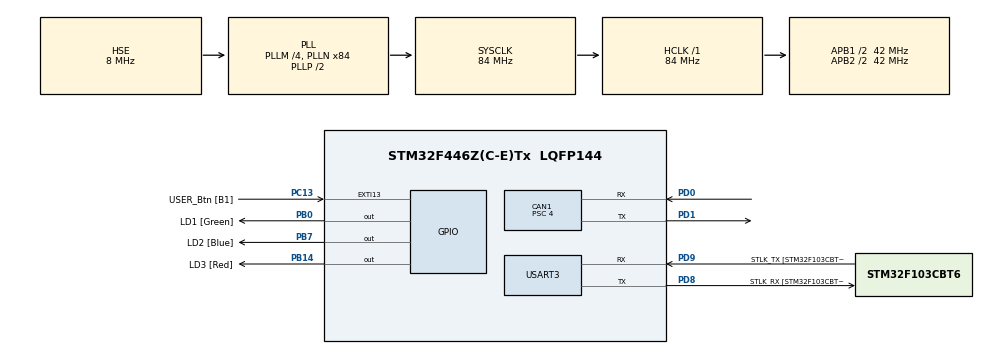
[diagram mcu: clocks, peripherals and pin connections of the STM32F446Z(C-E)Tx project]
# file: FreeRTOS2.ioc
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CAN1.BS1=CAN_BS1_13TQ
CAN1.BS2=CAN_BS2_2TQ
CAN1.CalculateBaudRate=656250
CAN1.CalculateTimeBit=1523
CAN1.CalculateTimeQuantum=95.23809523809524
CAN1.NART=ENABLE
CAN1.Prescaler=4
FREERTOS.INCLUDE_pcTaskGetTaskName=1
FREERTOS.Tasks01=app0,48,128,StartApp0,Default,NULL,Dynamic,NULL,NULL;app1,8,128,StartApp1,Default,NULL,Dynamic,NULL,NULL;app2,9,128,StartApp2,Default,NULL,Dynamic,NULL,NULL;app3,8,128,StartApp3,Default,NULL,Dynamic,NULL,NULL
FREERTOS.configUSE_NEWLIB_REENTRANT=1
Mcu.Family=STM32F4
Mcu.Name=STM32F446Z(C-E)Tx
Mcu.Package=LQFP144
NVIC.CAN1_RX0_IRQn=true\:5\:0\:false\:false\:true\:true\:true\:true\:true
NVIC.EXTI15_10_IRQn=true\:5\:0\:false\:false\:true\:true\:true\:true\:true
NVIC.PriorityGroup=NVIC_PRIORITYGROUP_4
NVIC.TIM6_DAC_IRQn=true\:15\:0\:false\:false\:true\:false\:false\:true\:true
NVIC.TimeBase=TIM6_DAC_IRQn
NVIC.TimeBaseIP=TIM6
PB0.GPIO_Label=LD1 [Green]
PB0.Signal=GPIO_Output
PB14.GPIO_Label=LD3 [Red]
PB14.Signal=GPIO_Output
PB7.GPIO_Label=LD2 [Blue]
PB7.Signal=GPIO_Output
PC13.GPIO_Label=USER_Btn [B1]
PC13.Signal=GPXTI13
PC14-OSC32_IN.Mode=LSE-External-Oscillator
PC14-OSC32_IN.Signal=RCC_OSC32_IN
PC15-OSC32_OUT.Mode=LSE-External-Oscillator
PC15-OSC32_OUT.Signal=RCC_OSC32_OUT
PD0.Mode=CAN_Activate
PD0.Signal=CAN1_RX
PD1.Mode=CAN_Activate
PD1.Signal=CAN1_TX
PD8.GPIO_Label=STLK_RX [STM32F103CBT6_PA3]
PD8.Mode=Asynchronous
PD8.Signal=USART3_TX
PD9.GPIO_Label=STLK_TX [STM32F103CBT6_PA2]
PD9.Mode=Asynchronous
PD9.Signal=USART3_RX
PH0-OSC_IN.GPIO_Label=MCO [STM32F103CBT6_PA8]
PH0-OSC_IN.Mode=HSE-External-Clock-Source
PH0-OSC_IN.Signal=RCC_OSC_IN
PH1-OSC_OUT.Mode=HSE-External-Clock-Source
PH1-OSC_OUT.Signal=RCC_OSC_OUT
ProjectManager.HeapSize=0x200
ProjectManager.StackSize=0x400
ProjectManager.TargetToolchain=STM32CubeIDE
RCC.48MHZClocksFreq_Value=24000000
RCC.AHBFreq_Value=84000000
RCC.APB1CLKDivider=RCC_HCLK_DIV2
RCC.APB1Freq_Value=42000000
RCC.APB1TimFreq_Value=84000000
RCC.APB2CLKDivider=RCC_HCLK_DIV2
RCC.APB2Freq_Value=42000000
RCC.APB2TimFreq_Value=84000000
RCC.CortexFreq_Value=84000000
RCC.HCLKFreq_Value=84000000
RCC.HSE_VALUE=8000000
RCC.HSI_VALUE=16000000
RCC.PLLM=4
RCC.PLLMUL=RCC_PLL_MUL9
RCC.PLLN=84
RCC.PLLQ=7
RCC.PLLSourceVirtual=RCC_PLLSOURCE_HSE
RCC.PRESCALERUSB=RCC_USBCLKSOURCE_PLL_DIV1_5
RCC.SYSCLKFreq_VALUE=84000000
RCC.SYSCLKSource=RCC_SYSCLKSOURCE_PLLCLK
RCC.SYSCLKSourceVirtual=RCC_SYSCLKSOURCE_PLLCLK
RCC.USBFreq_Value=24000000
RCC.VCOOutputFreq_Value=168000000
USART3.VirtualMode=VM_ASYNC
VP_FREERTOS_VS_CMSIS_V2.Mode=CMSIS_V2
VP_SYS_VS_tim6.Mode=TIM6
board=NUCLEO-F446ZE

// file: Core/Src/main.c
/* USER CODE BEGIN Header */
/**
  ******************************************************************************
  * @file           : main.c
  * @brief          : Main program body
  ******************************************************************************
  * @attention
  *
  * Copyright (c) 2024 STMicroelectronics.
  * All rights reserved.
  *
  * This software is licensed under terms that can be found in the LICENSE file
  * in the root directory of this software component.
  * If no LICENSE file comes with this software, it is provided AS-IS.
  *
  ******************************************************************************
  */
/* USER CODE END Header */
#include "main.h"
#include "cmsis_os.h"

/* USER CODE BEGIN Includes */
#include <stdio.h>
/* USER CODE END Includes */

/* USER CODE BEGIN PD */

#define MAJOR 0
#define MINOR 0

/* Before transmitting, make sure that there is an 'update' available in the sector defined below.
 * This update will then be sent from one F446 board to another through the CAN bus.
 * One board simulates the telemetry module (= responsible from communication with the ground station) on a CubeSat,
 * the other board simulates the on-board computer (OBC) of the CubeSat. */

//#define FLASH_USER_START_ADDR_RX   ADDR_FLASH_SECTOR_5_START		/* Start @ of user Flash area */
//#define FLASH_USER_END_ADDR_RX     ADDR_FLASH_SECTOR_5_END 			/* End @ of user Flash area */

/* USER CODE END PD */

CAN_HandleTypeDef hcan1;

UART_HandleTypeDef huart3;

/* Definitions for app0 */
osThreadId_t app0Handle;
const osThreadAttr_t app0_attributes = {
  .name = "app0",
  .stack_size = 128 * 4,
  .priority = (osPriority_t) osPriorityRealtime,
};
/* Definitions for app1 */
osThreadId_t app1Handle;
const osThreadAttr_t app1_attributes = {
  .name = "app1",
  .stack_size = 128 * 4,
  .priority = (osPriority_t) osPriorityLow,
};
/* Definitions for app2 */
osThreadId_t app2Handle;
const osThreadAttr_t app2_attributes = {
  .name = "app2",
  .stack_size = 128 * 4,
  .priority = (osPriority_t) osPriorityLow1,
};
/* Definitions for app3 */
osThreadId_t app3Handle;
const osThreadAttr_t app3_attributes = {
  .name = "app3",
  .stack_size = 128 * 4,
  .priority = (osPriority_t) osPriorityLow,
};
/* USER CODE BEGIN PV */

const uint8_t			APP_Version[2]={MAJOR, MINOR};

// CAN variables
CAN_RxHeaderTypeDef   	RxHeader;
CAN_TxHeaderTypeDef   	TxHeader;
uint8_t               	TxData[8];
uint8_t               	RxData[8];
uint32_t              	TxMailbox;
QueueHandle_t canRxQueue;

// Board status variables
enum board_status 	  	{NO_UPDATE_AVAILABLE, SENDING_UPDATE, RECEIVING_UPDATE, UPDATE_FINISHED};
enum board_status 	  	board_status = NO_UPDATE_AVAILABLE;

// Flash Operation variables
uint32_t FirstSector = 0, NbOfSectors = 0;
uint32_t Address = 0, SECTORError = 0;
__IO uint32_t data32 = 0 , MemoryProgramStatus = 0;
uint8_t TxBuffer;

/* USER CODE END PV */

void SystemClock_Config(void);
static void MX_GPIO_Init(void);
static void MX_USART3_UART_Init(void);
static void MX_CAN1_Init(void);
void StartApp0(void *argument);
void StartApp1(void *argument);
void StartApp2(void *argument);
void StartApp3(void *argument);

/* USER CODE BEGIN PFP */
void SystemReset(void);
void StopAllThreads(void);
void RebootToApplication(void);

/* Function prototypes for Flash Operations */

/* USER CODE END PFP */

int main(void)
{

  /* MCU Configuration--------------------------------------------------------*/

  /* Reset of all peripherals, Initializes the Flash interface and the Systick. */
  HAL_Init();

  /* Configure the system clock */
  SystemClock_Config();

  /* Initialize all configured peripherals */
  MX_GPIO_Init();
  MX_USART3_UART_Init();
  MX_CAN1_Init();
  /* USER CODE BEGIN 2 */

  /* Start the CAN and enable interrupts*/
 HAL_CAN_Start(&hcan1);

  /* USER CODE END 2 */

  /* Init scheduler */
  osKernelInitialize();

  /* Create the thread(s) */
  /* creation of app0 */
  app0Handle = osThreadNew(StartApp0, NULL, &app0_attributes);

  /* creation of app1 */
  app1Handle = osThreadNew(StartApp1, NULL, &app1_attributes);

  /* creation of app2 */
  app2Handle = osThreadNew(StartApp2, NULL, &app2_attributes);

  /* creation of app3 */
  app3Handle = osThreadNew(StartApp3, NULL, &app3_attributes);

  /* Start scheduler */
  osKernelStart();

  /* We should never get here as control is now taken by the scheduler */
  /* Infinite loop */
  while (1)
  {

    /* USER CODE BEGIN 3 */

	  printf("in the while \r\n");

  }
  /* USER CODE END 3 */
}

void SystemClock_Config(void)
{
  RCC_OscInitTypeDef RCC_OscInitStruct = {0};
  RCC_ClkInitTypeDef RCC_ClkInitStruct = {0};

  /** Configure the main internal regulator output voltage
  */
  __HAL_RCC_PWR_CLK_ENABLE();
  __HAL_PWR_VOLTAGESCALING_CONFIG(PWR_REGULATOR_VOLTAGE_SCALE3);

  /** Initializes the RCC Oscillators according to the specified parameters
  * in the RCC_OscInitTypeDef structure.
  */
  RCC_OscInitStruct.OscillatorType = RCC_OSCILLATORTYPE_HSE;
  RCC_OscInitStruct.HSEState = RCC_HSE_BYPASS;
  RCC_OscInitStruct.PLL.PLLState = RCC_PLL_ON;
  RCC_OscInitStruct.PLL.PLLSource = RCC_PLLSOURCE_HSE;
  RCC_OscInitStruct.PLL.PLLM = 4;
  RCC_OscInitStruct.PLL.PLLN = 84;
  RCC_OscInitStruct.PLL.PLLP = RCC_PLLP_DIV2;
  RCC_OscInitStruct.PLL.PLLQ = 7;
  RCC_OscInitStruct.PLL.PLLR = 2;
  if (HAL_RCC_OscConfig(&RCC_OscInitStruct) != HAL_OK)
  {
    Error_Handler();
  }

  /** Initializes the CPU, AHB and APB buses clocks
  */
  RCC_ClkInitStruct.ClockType = RCC_CLOCKTYPE_HCLK|RCC_CLOCKTYPE_SYSCLK
                              |RCC_CLOCKTYPE_PCLK1|RCC_CLOCKTYPE_PCLK2;
  RCC_ClkInitStruct.SYSCLKSource = RCC_SYSCLKSOURCE_PLLCLK;
  RCC_ClkInitStruct.AHBCLKDivider = RCC_SYSCLK_DIV1;
  RCC_ClkInitStruct.APB1CLKDivider = RCC_HCLK_DIV2;
  RCC_ClkInitStruct.APB2CLKDivider = RCC_HCLK_DIV2;

  if (HAL_RCC_ClockConfig(&RCC_ClkInitStruct, FLASH_LATENCY_2) != HAL_OK)
  {
    Error_Handler();
  }
}

static void MX_CAN1_Init(void)
{

  /* USER CODE BEGIN CAN1_Init 0 */
  CAN_FilterTypeDef  sFilterConfig0;
  /* USER CODE END CAN1_Init 0 */

  hcan1.Instance = CAN1;
  hcan1.Init.Prescaler = 4;
  hcan1.Init.Mode = CAN_MODE_NORMAL;
  hcan1.Init.SyncJumpWidth = CAN_SJW_1TQ;
  hcan1.Init.TimeSeg1 = CAN_BS1_13TQ;
  hcan1.Init.TimeSeg2 = CAN_BS2_2TQ;
  hcan1.Init.TimeTriggeredMode = DISABLE;
  hcan1.Init.AutoBusOff = DISABLE;
  hcan1.Init.AutoWakeUp = DISABLE;
  hcan1.Init.AutoRetransmission = ENABLE;
  hcan1.Init.ReceiveFifoLocked = DISABLE;
  hcan1.Init.TransmitFifoPriority = DISABLE;
  if (HAL_CAN_Init(&hcan1) != HAL_OK)
  {
    Error_Handler();
  }
  /* USER CODE BEGIN CAN1_Init 2 */

  sFilterConfig0.FilterBank = 0;
  sFilterConfig0.FilterMode = CAN_FILTERMODE_IDMASK;
  sFilterConfig0.FilterScale = CAN_FILTERSCALE_32BIT;
  sFilterConfig0.FilterIdHigh = 0x0000;
  sFilterConfig0.FilterIdLow = 0x0000;
  sFilterConfig0.FilterMaskIdHigh = 0x0000;
  sFilterConfig0.FilterMaskIdLow = 0x0000;
  sFilterConfig0.FilterFIFOAssignment = CAN_RX_FIFO0;
  sFilterConfig0.FilterActivation = ENABLE;
  sFilterConfig0.SlaveStartFilterBank = 14;
  if (HAL_CAN_ConfigFilter(&hcan1, &sFilterConfig0) != HAL_OK) {
	/* Filter configuration Error */
	Error_Handler();
  }

  if (HAL_CAN_Start(&hcan1) != HAL_OK)
  {
    /* Start Error */
    Error_Handler();
  }

  if (HAL_CAN_ActivateNotification(&hcan1, CAN_IT_RX_FIFO0_MSG_PENDING) != HAL_OK)
    {
    /* Notification Error */
      Error_Handler();
    }

  /* USER CODE END CAN1_Init 2 */

}

static void MX_USART3_UART_Init(void)
{

  huart3.Instance = USART3;
  huart3.Init.BaudRate = 115200;
  huart3.Init.WordLength = UART_WORDLENGTH_8B;
  huart3.Init.StopBits = UART_STOPBITS_1;
  huart3.Init.Parity = UART_PARITY_NONE;
  huart3.Init.Mode = UART_MODE_TX_RX;
  huart3.Init.HwFlowCtl = UART_HWCONTROL_NONE;
  huart3.Init.OverSampling = UART_OVERSAMPLING_16;
  if (HAL_UART_Init(&huart3) != HAL_OK)
  {
    Error_Handler();
  }

}

static void MX_GPIO_Init(void)
{
  GPIO_InitTypeDef GPIO_InitStruct = {0};

  /* GPIO Ports Clock Enable */
  __HAL_RCC_GPIOC_CLK_ENABLE();
  __HAL_RCC_GPIOH_CLK_ENABLE();
  __HAL_RCC_GPIOB_CLK_ENABLE();
  __HAL_RCC_GPIOD_CLK_ENABLE();

  /*Configure GPIO pin Output Level */
  HAL_GPIO_WritePin(GPIOB, LD1_Pin|LD3_Pin|LD2_Pin, GPIO_PIN_RESET);

  /*Configure GPIO pin : USER_Btn_Pin */
  GPIO_InitStruct.Pin = USER_Btn_Pin;
  GPIO_InitStruct.Mode = GPIO_MODE_IT_RISING;
  GPIO_InitStruct.Pull = GPIO_NOPULL;
  HAL_GPIO_Init(USER_Btn_GPIO_Port, &GPIO_InitStruct);

  /*Configure GPIO pins : LD1_Pin LD3_Pin LD2_Pin */
  GPIO_InitStruct.Pin = LD1_Pin|LD3_Pin|LD2_Pin;
  GPIO_InitStruct.Mode = GPIO_MODE_OUTPUT_PP;
  GPIO_InitStruct.Pull = GPIO_NOPULL;
  GPIO_InitStruct.Speed = GPIO_SPEED_FREQ_LOW;
  HAL_GPIO_Init(GPIOB, &GPIO_InitStruct);

  /* EXTI interrupt init*/
  HAL_NVIC_SetPriority(EXTI15_10_IRQn, 5, 0);
  HAL_NVIC_EnableIRQ(EXTI15_10_IRQn);

}

/* USER CODE BEGIN 4 */

void HAL_CAN_RxFifo0MsgPendingCallback(CAN_HandleTypeDef *hcan)
{
	printf("msg callback \r\n");
    // Get the message
    if (HAL_CAN_GetRxMessage(hcan, CAN_RX_FIFO0, &RxHeader, RxData) == HAL_OK)
    {
    	printf("Got msg \r\n");
    	if ((RxHeader.DLC == 1) && (RxData[0] == 0b11111111)){

        	SystemReset();
    	}
    }
}

/* Enabling a print function for Putty. */
#ifdef __GNUC__

 /* With GCC, small printf (option LD Linker->Libraries->Small printf set to 'Yes') calls __io_putchar() */
int __io_putchar(int ch)
#else
int fputc(int ch, FILE *f)
#endif /* __GNUC__ */
{
	HAL_UART_Transmit(&huart3, (uint8_t *)&ch, 1, HAL_MAX_DELAY);
	return ch;
}

uint32_t Read_Message_and_Write_in_FLASH(uint32_t Address, uint32_t EndSectorAddress, uint8_t *data, uint8_t length)
{
    //printf("Entering Read_Message_and_Write_in_FLASH\r\n");
    HAL_FLASH_Unlock();
    //printf("Flash unlocked\r\n");
    board_status = RECEIVING_UPDATE;

    for (uint8_t i = 0; i < length; i++)
    {
        if (Address > EndSectorAddress)
        {
            // Handle error: Flash address out of range
            printf("Flash address out of range\r\n");
            break;
        }

        HAL_StatusTypeDef flash_status = HAL_FLASH_Program(FLASH_TYPEPROGRAM_BYTE, Address, data[i]);
        if (flash_status == HAL_OK)
        {
            //printf("Flash write successful: %02X at address %lu\r\n", data[i], Address);
            Address++;
        }
        else
        {
            printf("Flash write failed: status=%d\r\n", flash_status);
            HAL_FLASH_Lock();
            Error_Handler();
        }
    }

    printf("Address %lu\r\n", Address);
    HAL_FLASH_Lock();
    //printf("Flash locked\r\n");

    //printf("Exiting Read_Message_and_Write_in_FLASH\r\n");
    return Address;
}

// Function to trigger a system reset
void SystemReset(void)
{
    printf("System resetting...\r\n");
    HAL_NVIC_SystemReset();
}

void StopAllThreads(void)
{
    vTaskSuspend(app1Handle);
    vTaskSuspend(app2Handle);
    vTaskSuspend(app3Handle);
    // Add suspensions for any other threads if necessary
}

void StartApp1_1(void *argument)
{
  for(;;)
  {
      //printf("Hello from app 1.1\r\n");

	  printf("About to try to relaunch with a new task \r\n");
      //application1();
      osDelay(1000);
  }
}

/* USER CODE END 4 */

void StartApp0(void *argument)
{
  /* USER CODE BEGIN 5 */
  /* Infinite loop */
  for(;;)
  {
	  osDelay(100);
	  if (board_status == NO_UPDATE_AVAILABLE){
		  HAL_GPIO_WritePin(GPIOB, LD2_Pin | LD1_Pin, GPIO_PIN_RESET);
		  HAL_GPIO_TogglePin(GPIOB, LD3_Pin);
		  osDelay(1000);
	  }
	  else if (board_status == RECEIVING_UPDATE){
		  HAL_GPIO_WritePin(GPIOB, LD3_Pin | LD1_Pin, GPIO_PIN_RESET);
		  HAL_GPIO_TogglePin(GPIOB, LD2_Pin);
		  osDelay(100);
	  }
	  else if (board_status == UPDATE_FINISHED){
		  HAL_GPIO_WritePin(GPIOB, LD2_Pin | LD3_Pin, GPIO_PIN_RESET);
		  HAL_GPIO_TogglePin(GPIOB, LD1_Pin);
		  osDelay(1000);
	  }
	  osDelay(1);
  }
  /* USER CODE END 5 */
}

void StartApp1(void *argument)
{
  /* USER CODE BEGIN StartApp1 */
  /* Infinite loop */
  for(;;)
  {
	printf("hello from the new app 1 \r\n");
    osDelay(1000);
  }
  /* USER CODE END StartApp1 */
}

void StartApp2(void *argument)
{
  /* USER CODE BEGIN StartApp2 */
  /* Infinite loop */
  for(;;)
  {
	  printf("hello from the new app 2 \r\n");
	  osDelay(1000);
  }
  /* USER CODE END StartApp2 */
}

void StartApp3(void *argument)
{
  /* USER CODE BEGIN StartApp3 */
  /* Infinite loop */
  for(;;)
  {
	  printf("hello from the new app 3 \r\n");
	  osDelay(1000);
  }
  /* USER CODE END StartApp3 */
}

void HAL_TIM_PeriodElapsedCallback(TIM_HandleTypeDef *htim)
{
  if (htim->Instance == TIM6) {
    HAL_IncTick();
  }
}

void Error_Handler(void)
{
  __disable_irq();
  while (1)
  {
  }
}
